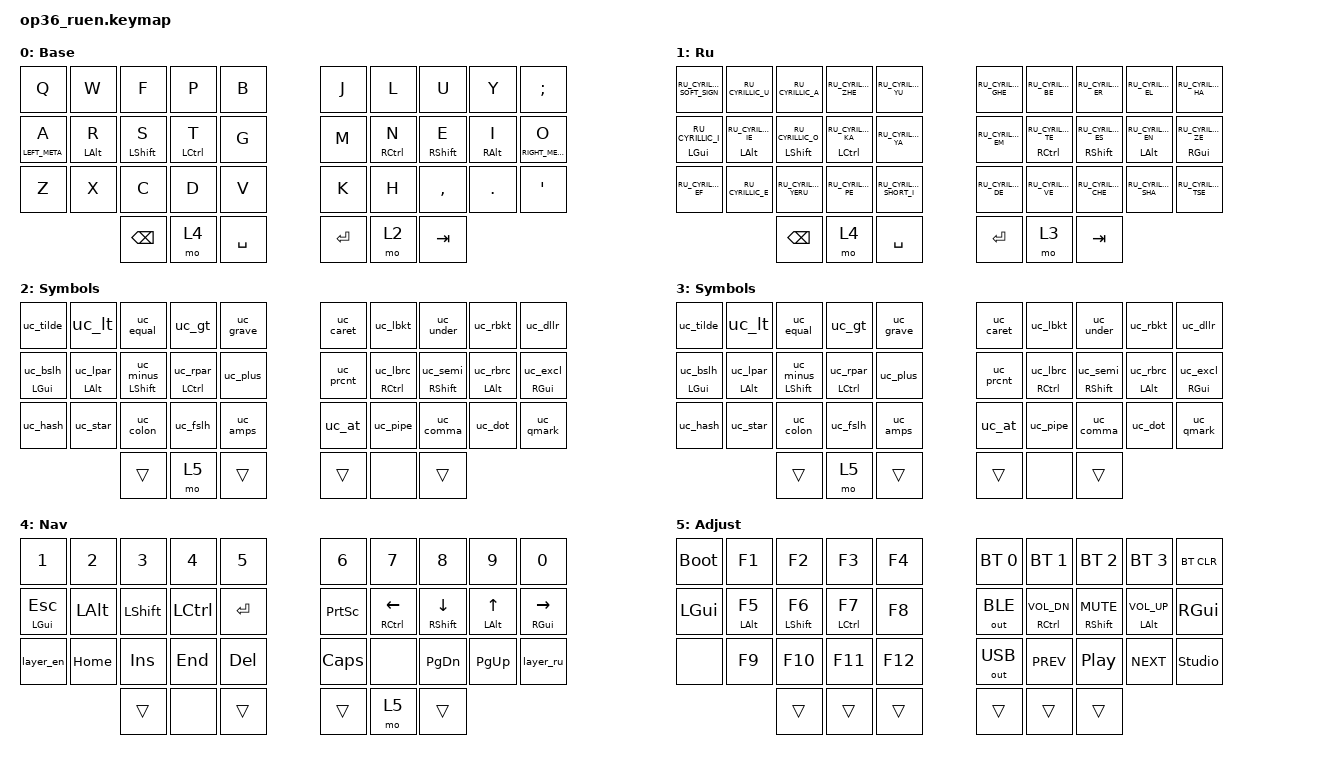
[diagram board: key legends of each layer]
#include "keys_ru.h"
#include "keys_ru.h"
#include <behaviors.dtsi>
#include <dt-bindings/zmk/bt.h>
#include <dt-bindings/zmk/keys.h>
#include <dt-bindings/zmk/outputs.h>

&mt {
    quick-tap-ms = <200>;
    flavor = "tap-preferred";
    require-prior-idle-ms = <125>;
};

/ {
    behaviors {
        hml: home_row_mod_left {
            compatible = "zmk,behavior-hold-tap";
            #binding-cells = <2>;
            flavor = "balanced";
            require-prior-idle-ms = <150>;
            tapping-term-ms = <280>;
            quick-tap-ms = <175>;
            bindings = <&kp>, <&kp>;

            hold-trigger-key-positions = <5 6 7 8 9 15 16 17 18 19 25 26 27 28 29 33 34 35>;
            hold-trigger-on-release;
        };

        hmr: home_row_mod_right {
            compatible = "zmk,behavior-hold-tap";
            #binding-cells = <2>;
            flavor = "balanced";
            require-prior-idle-ms = <150>;
            tapping-term-ms = <280>;
            quick-tap-ms = <175>;
            bindings = <&kp>, <&kp>;

            hold-trigger-key-positions = <0 1 2 3 4 10 11 12 13 14 20 21 22 23 24 30 31 32>;
            hold-trigger-on-release;
        };

        // Unicode поведение для отправки конкретных символов
        uc_comma: uc_comma {
            compatible = "zmk,behavior-unicode";
            #binding-cells = <0>;
            bindings = <&uc 0x2C>;
        };

        uc_dot: uc_dot {
            compatible = "zmk,behavior-unicode";
            #binding-cells = <0>;
            bindings = <&uc 0x2E>;
        };

        uc_semi: uc_semi {
            compatible = "zmk,behavior-unicode";
            #binding-cells = <0>;
            bindings = <&uc 0x3B>;
        };

        uc_colon: uc_colon {
            compatible = "zmk,behavior-unicode";
            #binding-cells = <0>;
            bindings = <&uc 0x3A>;
        };

        uc_qmark: uc_qmark {
            compatible = "zmk,behavior-unicode";
            #binding-cells = <0>;
            bindings = <&uc 0x3F>;
        };

        uc_excl: uc_excl {
            compatible = "zmk,behavior-unicode";
            #binding-cells = <0>;
            bindings = <&uc 0x21>;
        };

        uc_at: uc_at {
            compatible = "zmk,behavior-unicode";
            #binding-cells = <0>;
            bindings = <&uc 0x40>;
        };

        uc_hash: uc_hash {
            compatible = "zmk,behavior-unicode";
            #binding-cells = <0>;
            bindings = <&uc 0x23>;
        };

        uc_dllr: uc_dllr {
            compatible = "zmk,behavior-unicode";
            #binding-cells = <0>;
            bindings = <&uc 0x24>;
        };

        uc_prcnt: uc_prcnt {
            compatible = "zmk,behavior-unicode";
            #binding-cells = <0>;
            bindings = <&uc 0x25>;
        };

        uc_caret: uc_caret {
            compatible = "zmk,behavior-unicode";
            #binding-cells = <0>;
            bindings = <&uc 0x5E>;
        };

        uc_amps: uc_amps {
            compatible = "zmk,behavior-unicode";
            #binding-cells = <0>;
            bindings = <&uc 0x26>;
        };

        uc_star: uc_star {
            compatible = "zmk,behavior-unicode";
            #binding-cells = <0>;
            bindings = <&uc 0x2A>;
        };

        uc_lpar: uc_lpar {
            compatible = "zmk,behavior-unicode";
            #binding-cells = <0>;
            bindings = <&uc 0x28>;
        };

        uc_rpar: uc_rpar {
            compatible = "zmk,behavior-unicode";
            #binding-cells = <0>;
            bindings = <&uc 0x29>;
        };

        uc_lbrc: uc_lbrc {
            compatible = "zmk,behavior-unicode";
            #binding-cells = <0>;
            bindings = <&uc 0x5B>;
        };

        uc_rbrc: uc_rbrc {
            compatible = "zmk,behavior-unicode";
            #binding-cells = <0>;
            bindings = <&uc 0x5D>;
        };

        uc_lbkt: uc_lbkt {
            compatible = "zmk,behavior-unicode";
            #binding-cells = <0>;
            bindings = <&uc 0x7B>;
        };

        uc_rbkt: uc_rbkt {
            compatible = "zmk,behavior-unicode";
            #binding-cells = <0>;
            bindings = <&uc 0x7D>;
        };

        uc_lt: uc_lt {
            compatible = "zmk,behavior-unicode";
            #binding-cells = <0>;
            bindings = <&uc 0x3C>;
        };

        uc_gt: uc_gt {
            compatible = "zmk,behavior-unicode";
            #binding-cells = <0>;
            bindings = <&uc 0x3E>;
        };

        uc_equal: uc_equal {
            compatible = "zmk,behavior-unicode";
            #binding-cells = <0>;
            bindings = <&uc 0x3D>;
        };

        uc_plus: uc_plus {
            compatible = "zmk,behavior-unicode";
            #binding-cells = <0>;
            bindings = <&uc 0x2B>;
        };

        uc_minus: uc_minus {
            compatible = "zmk,behavior-unicode";
            #binding-cells = <0>;
            bindings = <&uc 0x2D>;
        };

        uc_under: uc_under {
            compatible = "zmk,behavior-unicode";
            #binding-cells = <0>;
            bindings = <&uc 0x5F>;
        };

        uc_tilde: uc_tilde {
            compatible = "zmk,behavior-unicode";
            #binding-cells = <0>;
            bindings = <&uc 0x7E>;
        };

        uc_grave: uc_grave {
            compatible = "zmk,behavior-unicode";
            #binding-cells = <0>;
            bindings = <&uc 0x60>;
        };

        uc_pipe: uc_pipe {
            compatible = "zmk,behavior-unicode";
            #binding-cells = <0>;
            bindings = <&uc 0x7C>;
        };

        uc_bslh: uc_bslh {
            compatible = "zmk,behavior-unicode";
            #binding-cells = <0>;
            bindings = <&uc 0x5C>;
        };

        uc_fslh: uc_fslh {
            compatible = "zmk,behavior-unicode";
            #binding-cells = <0>;
            bindings = <&uc 0x2F>;
        };
    };

    combos {
        compatible = "zmk,combos";

        kha {
            bindings = <&kp RU_CYRILLIC_SHCHA>;
            key-positions = <2 1>;
            layers = <1>;
        };

        hrdsgn {
            bindings = <&kp RU_CYRILLIC_HARD_SIGN>;
            key-positions = <7 8>;
            layers = <1>;
        };

        cmben {
            bindings = <&layer_en>;
            key-positions = <2 3>;
            layers = <1>;
        };

        cmbru {
            bindings = <&layer_ru>;
            key-positions = <2 3>;
            layers = <0>;
        };
    };

    macros {
        to_ru: to_ru {
            compatible = "zmk,behavior-macro";
            #binding-cells = <0>;
            bindings = <&kp LS(LC(N2))>;
            label = "TO_RU";
            wait-ms = <0>;
            tap-ms = <30>;
        };

        to_en: to_en {
            compatible = "zmk,behavior-macro";
            #binding-cells = <0>;
            bindings = <&kp LS(LC(N1))>;
            label = "TO_EN";
            wait-ms = <0>;
            tap-ms = <30>;
        };

        layer_en: layer_en {
            compatible = "zmk,behavior-macro";
            #binding-cells = <0>;
            bindings = <&to 0 &to_en>;
            label = "LAYER_EN";
            wait-ms = <0>;
            tap-ms = <30>;
        };

        layer_ru: layer_ru {
            compatible = "zmk,behavior-macro";
            #binding-cells = <0>;
            bindings = <&to 1 &to_ru>;
            label = "LAYER_RU";
            tap-ms = <30>;
            wait-ms = <0>;
        };
    };

    keymap {
        compatible = "zmk,keymap";

        en {
            bindings = <
  &kp Q             &kp W            &kp F              &kp P          &kp B                          &kp J  &kp L         &kp U               &kp Y             &kp SEMI
  &hml LEFT_META A  &hml LEFT_ALT R  &hml LEFT_SHIFT S  &hml LCTRL T   &kp G                          &kp M  &hmr RCTRL N  &hmr RIGHT_SHIFT E  &hmr RIGHT_ALT I  &hmr RIGHT_META O
  &kp Z             &kp X            &kp C              &kp D          &kp V                          &kp K  &kp H         &kp COMMA           &kp DOT           &kp SQT
                                                        &kp BACKSPACE  &mo 4  &kp SPACE    &kp ENTER  &mo 2  &kp TAB
            >;

            display-name = "Base";
        };

        ru {
            bindings = <
  &kp RU_CYRILLIC_SOFT_SIGN  &kp RU_CYRILLIC_U         &kp RU_CYRILLIC_A         &kp RU_CYRILLIC_ZHE        &kp RU_CYRILLIC_YU                               &kp RU_CYRILLIC_GHE  &kp RU_CYRILLIC_BE         &kp RU_CYRILLIC_ER         &kp RU_CYRILLIC_EL        &kp RU_CYRILLIC_HA
  &hml LGUI RU_CYRILLIC_I    &hml LALT RU_CYRILLIC_IE  &hml LSHFT RU_CYRILLIC_O  &hml LCTRL RU_CYRILLIC_KA  &kp RU_CYRILLIC_YA                               &kp RU_CYRILLIC_EM   &hmr RCTRL RU_CYRILLIC_TE  &hmr RSHFT RU_CYRILLIC_ES  &hmr LALT RU_CYRILLIC_EN  &hmr RGUI RU_CYRILLIC_ZE
  &kp RU_CYRILLIC_EF         &kp RU_CYRILLIC_E         &kp RU_CYRILLIC_YERU      &kp RU_CYRILLIC_PE         &kp RU_CYRILLIC_SHORT_I                          &kp RU_CYRILLIC_DE   &kp RU_CYRILLIC_VE         &kp RU_CYRILLIC_CHE        &kp RU_CYRILLIC_SHA       &kp RU_CYRILLIC_TSE
                                                                                 &kp BACKSPACE              &mo 4                    &kp SPACE    &kp ENTER  &mo 3                &kp TAB
            >;

            display-name = "Ru";
        };

        sym_en {
            bindings = <
  &uc_tilde       &uc_lt          &uc_equal         &uc_gt           &uc_grave                    &uc_caret  &uc_lbkt         &uc_under        &uc_rbkt        &uc_dllr
  &hml LGUI uc_bslh  &hml LALT uc_lpar  &hml LSHFT uc_minus  &hml LCTRL uc_rpar  &uc_plus                     &uc_prcnt  &hmr RCTRL uc_lbrc  &hmr RSHFT uc_semi  &hmr LALT uc_rbrc  &hmr RGUI uc_excl
  &uc_hash        &uc_star        &uc_colon         &uc_fslh         &uc_amps                     &uc_at     &uc_pipe         &uc_comma        &uc_dot         &uc_qmark
                                                    &trans           &mo 5      &trans    &trans  &none      &trans
            >;

            display-name = "Symbols";
        };

        sym_ru {
            bindings = <
  &uc_tilde       &uc_lt          &uc_equal         &uc_gt           &uc_grave                    &uc_caret  &uc_lbkt         &uc_under        &uc_rbkt        &uc_dllr
  &hml LGUI uc_bslh  &hml LALT uc_lpar  &hml LSHFT uc_minus  &hml LCTRL uc_rpar  &uc_plus                     &uc_prcnt  &hmr RCTRL uc_lbrc  &hmr RSHFT uc_semi  &hmr LALT uc_rbrc  &hmr RGUI uc_excl
  &uc_hash        &uc_star        &uc_colon         &uc_fslh         &uc_amps                     &uc_at     &uc_pipe         &uc_comma        &uc_dot         &uc_qmark
                                                            &trans           &mo 5      &trans    &trans  &none      &trans
            >;

            display-name = "Symbols";
        };

        nav {
            bindings = <
  &kp N1         &kp N2    &kp N3     &kp N4     &kp N5                        &kp N6           &kp N7           &kp N8           &kp N9        &kp N0
  &hml LGUI ESC  &kp LALT  &kp LSHFT  &kp LCTRL  &kp ENTER                     &kp PRINTSCREEN  &hmr RCTRL LEFT  &hmr RSHFT DOWN  &hmr LALT UP  &hmr RGUI RIGHT
  &layer_en      &kp HOME  &kp INS    &kp END    &kp DELETE                    &kp CAPS         &none            &kp PG_DN        &kp PG_UP     &layer_ru
                                      &trans     &none       &trans    &trans  &mo 5            &trans
            >;

            display-name = "Nav";
        };

        adj {
            bindings = <
  &bootloader  &kp F1        &kp F2         &kp F3         &kp F4                     &bt BT_SEL 0  &bt BT_SEL 1         &bt BT_SEL 2       &bt BT_SEL 3        &bt BT_CLR
  &kp LGUI     &hml LALT F5  &hml LSHFT F6  &hml LCTRL F7  &kp F8                     &out OUT_BLE  &hmr RCTRL C_VOL_DN  &hmr RSHFT C_MUTE  &hmr LALT C_VOL_UP  &kp RGUI
  &none        &kp F9        &kp F10        &kp F11        &kp F12                    &out OUT_USB  &kp C_PREV           &kp C_PP           &kp C_NEXT          &studio_unlock
                                            &trans         &trans   &trans    &trans  &trans        &trans
            >;

            display-name = "Adjust";
        };
    };
};
